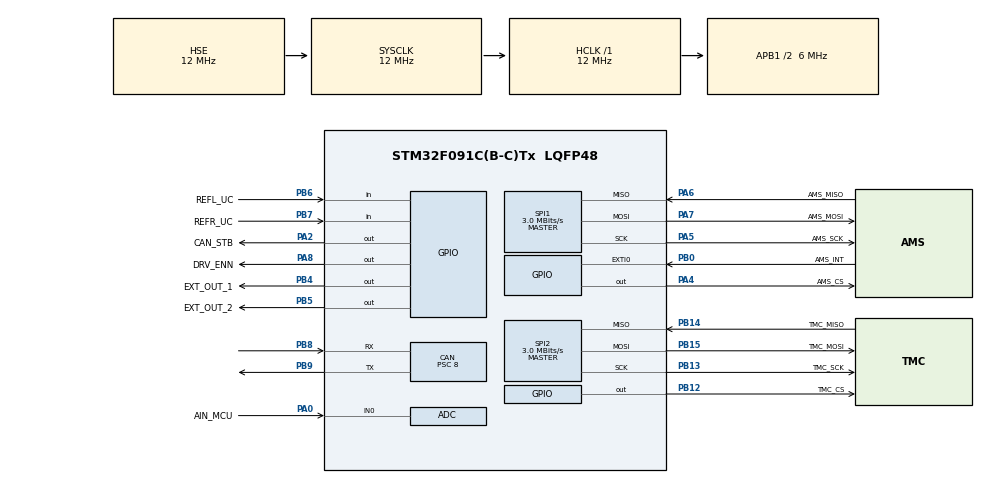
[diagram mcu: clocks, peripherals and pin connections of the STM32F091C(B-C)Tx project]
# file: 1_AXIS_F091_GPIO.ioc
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CAN.BS1=CAN_BS1_2TQ
CAN.CalculateBaudRate=187500
CAN.CalculateTimeBit=5333
CAN.CalculateTimeQuantum=1333.3333333333333
CAN.Mode=CAN_MODE_NORMAL
CAN.Prescaler=8
Mcu.Family=STM32F0
Mcu.Name=STM32F091C(B-C)Tx
Mcu.Package=LQFP48
NVIC.CEC_CAN_IRQn=true\:0\:0\:false\:false\:true\:true\:true\:true
NVIC.EXTI0_1_IRQn=true\:0\:0\:false\:false\:true\:true\:true\:true
PA0.GPIO_Label=AIN_MCU
PA0.Mode=IN0
PA0.Signal=ADC_IN0
PA13.GPIO_Label=SWDIO
PA13.Mode=Serial_Wire
PA13.Signal=SYS_SWDIO
PA14.GPIO_Label=SWCLK
PA14.Mode=Serial_Wire
PA14.Signal=SYS_SWCLK
PA2.GPIO_Label=CAN_STB
PA2.Signal=GPIO_Output
PA4.GPIO_Label=AMS_CS
PA4.Signal=GPIO_Output
PA5.GPIO_Label=AMS_SCK
PA5.Mode=Full_Duplex_Master
PA5.Signal=SPI1_SCK
PA6.GPIO_Label=AMS_MISO
PA6.Mode=Full_Duplex_Master
PA6.Signal=SPI1_MISO
PA7.GPIO_Label=AMS_MOSI
PA7.Mode=Full_Duplex_Master
PA7.Signal=SPI1_MOSI
PA8.GPIO_Label=DRV_ENN
PA8.Signal=GPIO_Output
PB0.GPIO_Label=AMS_INT
PB0.GPIO_ModeDefaultEXTI=GPIO_MODE_IT_RISING
PB0.Signal=GPXTI0
PB12.GPIO_Label=TMC_CS
PB12.PinState=GPIO_PIN_SET
PB12.Signal=GPIO_Output
PB13.GPIO_Label=TMC_SCK
PB13.Mode=Full_Duplex_Master
PB13.Signal=SPI2_SCK
PB14.GPIO_Label=TMC_MISO
PB14.Mode=Full_Duplex_Master
PB14.Signal=SPI2_MISO
PB15.GPIO_Label=TMC_MOSI
PB15.Mode=Full_Duplex_Master
PB15.Signal=SPI2_MOSI
PB4.GPIO_Label=EXT_OUT_1
PB4.GPIO_PuPd=GPIO_PULLDOWN
PB4.Signal=GPIO_Output
PB5.GPIO_Label=EXT_OUT_2
PB5.GPIO_PuPd=GPIO_PULLDOWN
PB5.Signal=GPIO_Output
PB6.GPIO_Label=REFL_UC
PB6.GPIO_PuPd=GPIO_PULLDOWN
PB6.Signal=GPIO_Input
PB7.GPIO_Label=REFR_UC
PB7.GPIO_PuPd=GPIO_PULLDOWN
PB7.Signal=GPIO_Input
PB8.Mode=CAN_Activate
PB8.Signal=CAN_RX
PB9.Mode=CAN_Activate
PB9.Signal=CAN_TX
PF0-OSC_IN.Mode=HSE-External-Oscillator
PF0-OSC_IN.Signal=RCC_OSC_IN
PF1-OSC_OUT.Mode=HSE-External-Oscillator
PF1-OSC_OUT.Signal=RCC_OSC_OUT
ProjectManager.HeapSize=0x200
ProjectManager.StackSize=0x400
ProjectManager.TargetToolchain=STM32CubeIDE
RCC.AHBFreq_Value=12000000
RCC.APB1CLKDivider=RCC_HCLK_DIV2
RCC.APB1Freq_Value=6000000
RCC.APB1TimFreq_Value=12000000
RCC.HCLKFreq_Value=12000000
RCC.HSE_VALUE=12000000
RCC.PLLSourceVirtual=RCC_PLLSOURCE_HSE
RCC.SYSCLKFreq_VALUE=12000000
RCC.SYSCLKSource=RCC_SYSCLKSOURCE_HSE
SPI1.CalculateBaudRate=3.0 MBits/s
SPI1.DataSize=SPI_DATASIZE_8BIT
SPI1.Direction=SPI_DIRECTION_2LINES
SPI1.Mode=SPI_MODE_MASTER
SPI1.VirtualType=VM_MASTER
SPI2.CalculateBaudRate=3.0 MBits/s
SPI2.DataSize=SPI_DATASIZE_8BIT
SPI2.Direction=SPI_DIRECTION_2LINES
SPI2.Mode=SPI_MODE_MASTER
SPI2.VirtualType=VM_MASTER
board=custom

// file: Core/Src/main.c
/* USER CODE BEGIN Header */
/**
  ******************************************************************************
  * @file           : main.c
  * @brief          : Main program body
  ******************************************************************************
  * @attention
  *
  * Copyright (c) 2022 STMicroelectronics.
  * All rights reserved.
  *
  * This software is licensed under terms that can be found in the LICENSE file
  * in the root directory of this software component.
  * If no LICENSE file comes with this software, it is provided AS-IS.
  *
  ******************************************************************************
  */
/* USER CODE END Header */
#include "main.h"

ADC_HandleTypeDef hadc;

CAN_HandleTypeDef hcan;

SPI_HandleTypeDef hspi1;
SPI_HandleTypeDef hspi2;

void SystemClock_Config(void);
static void MX_GPIO_Init(void);
static void MX_ADC_Init(void);
static void MX_CAN_Init(void);
static void MX_SPI1_Init(void);
static void MX_SPI2_Init(void);

/* USER CODE BEGIN 0 */

/* RAMP config */
RampConfig Ramp1;
RampConfig StallSettings1;
RampConfig StealthSettings1;
RampConfig StopRamp1;

/* Current config */
CurrentConfig CurrentSetting1;

/* User Settings */
int AMS_ENB = 1; // 0 = disable Hall sensor , 1 = enable Hall sensor
int ENC_ENB = 0; // 0 = disable Encoder , 1 = enable Encoder
int ENC_HOME = 0; // 0 = don't reset ENC counter at Z-event, 1 = reset at Z-event (for homing)
int STG_ENB = 0; // 0 = disable Stallguard, 1 = enable Stallguard
int32_t AMS_Resolution =  4096; // Hall sensor resolution
int32_t ENC_Resolution =  8000; // Encoder resolution

/* CAN VARIABLES */  //
CAN_TxHeaderTypeDef CANTxHeader;
CAN_RxHeaderTypeDef CANRxHeader;

uint8_t CANTxData[8];	//CANTX data array
uint8_t CANRxData[8];	//CANRX data array
uint32_t TxMailbox[3];	//CAN Mailbox
int Datacheck;			//temp value for checking incomming CAN Data

uint16_t ADCReadings[1000];
int s = 0;

int ReadingData = 0;
int count = 0;

/*  CAN RECEIVE INTERRUPT */
void HAL_CAN_RxFifo0MsgPendingCallback(CAN_HandleTypeDef *hcan)
{
	HAL_CAN_GetRxMessage(hcan, CAN_RX_FIFO0, &CANRxHeader, CANRxData);

	if (CANRxData[0] == 0x01)
	{
		Datacheck = 1;
	}
}

void HAL_GPIO_EXTI_Callback(uint16_t GPIO_Pin)
{
	if(GPIO_Pin == AMS_INT_Pin && AMS_Ready == 0)
	{
		AMS_Ready = 1;
	}
}

/* USER CODE END 0 */

int main(void)
{

  /* MCU Configuration--------------------------------------------------------*/

  /* Reset of all peripherals, Initializes the Flash interface and the Systick. */
  HAL_Init();

  /* Configure the system clock */
  SystemClock_Config();

  /* Initialize all configured peripherals */
  MX_GPIO_Init();
  MX_ADC_Init();
  MX_CAN_Init();
  MX_SPI1_Init();
  MX_SPI2_Init();
  /* USER CODE BEGIN 2 */

  HAL_Delay(25);	//startup delay, so motor does not spin on debug

  Ramp1.VSTART = 10;
  Ramp1.A1 = 1000;
  Ramp1.V1 = 10000;
  Ramp1.AMAX = 12800;
  Ramp1.VMAX = 51200;
  Ramp1.DMAX = 700;
  Ramp1.D1 = 1400;
  Ramp1.VSTOP = 10;

  CurrentSetting1.IHOLD = 3;
  CurrentSetting1.IRUN = 1;

  TMC5160_Basic_Init(&CurrentSetting1);
  TMC5160_Drive_Enable(1);

  //Read IN1 (5 to 24V)
  Read_IN(1);

  //Read IN2 (5 to 24V)
  Read_IN(2);

  //Enable OUT1 for 1 sec (24V)
  HAL_GPIO_WritePin(GPIOB,EXT_OUT_1_Pin,1);
  HAL_Delay(1000);
  HAL_GPIO_WritePin(GPIOB,EXT_OUT_1_Pin,0);

  //OR use,   Toggle_OUT(1,1000);

  // Enable OUT2 for 1 sec (24V)
  HAL_GPIO_WritePin(GPIOB,EXT_OUT_2_Pin,1);
  HAL_Delay(1000);
  HAL_GPIO_WritePin(GPIOB,EXT_OUT_2_Pin,0);

  //OR use,   Toggle_OUT(2,1000);

/* Analog read check, AIN max = 5V , circuit has voltage devider for 3V max.*/

  Read_AIN(); //returns Anlog value

	TMC5160_Stop();
	TMC5160_Drive_Enable(0);

  /* USER CODE END 2 */

  /* Infinite loop */
  while (1)
  {

  }
}

void SystemClock_Config(void)
{
  RCC_OscInitTypeDef RCC_OscInitStruct = {0};
  RCC_ClkInitTypeDef RCC_ClkInitStruct = {0};

  /** Initializes the RCC Oscillators according to the specified parameters
  * in the RCC_OscInitTypeDef structure.
  */
  RCC_OscInitStruct.OscillatorType = RCC_OSCILLATORTYPE_HSI14|RCC_OSCILLATORTYPE_HSE;
  RCC_OscInitStruct.HSEState = RCC_HSE_ON;
  RCC_OscInitStruct.HSI14State = RCC_HSI14_ON;
  RCC_OscInitStruct.HSI14CalibrationValue = 16;
  RCC_OscInitStruct.PLL.PLLState = RCC_PLL_NONE;
  if (HAL_RCC_OscConfig(&RCC_OscInitStruct) != HAL_OK)
  {
    Error_Handler();
  }

  /** Initializes the CPU, AHB and APB buses clocks
  */
  RCC_ClkInitStruct.ClockType = RCC_CLOCKTYPE_HCLK|RCC_CLOCKTYPE_SYSCLK
                              |RCC_CLOCKTYPE_PCLK1;
  RCC_ClkInitStruct.SYSCLKSource = RCC_SYSCLKSOURCE_HSE;
  RCC_ClkInitStruct.AHBCLKDivider = RCC_SYSCLK_DIV1;
  RCC_ClkInitStruct.APB1CLKDivider = RCC_HCLK_DIV2;

  if (HAL_RCC_ClockConfig(&RCC_ClkInitStruct, FLASH_LATENCY_0) != HAL_OK)
  {
    Error_Handler();
  }
}

static void MX_ADC_Init(void)
{

  ADC_ChannelConfTypeDef sConfig = {0};

  /** Configure the global features of the ADC (Clock, Resolution, Data Alignment and number of conversion)
  */
  hadc.Instance = ADC1;
  hadc.Init.ClockPrescaler = ADC_CLOCK_ASYNC_DIV1;
  hadc.Init.Resolution = ADC_RESOLUTION_12B;
  hadc.Init.DataAlign = ADC_DATAALIGN_RIGHT;
  hadc.Init.ScanConvMode = ADC_SCAN_DIRECTION_FORWARD;
  hadc.Init.EOCSelection = ADC_EOC_SINGLE_CONV;
  hadc.Init.LowPowerAutoWait = DISABLE;
  hadc.Init.LowPowerAutoPowerOff = DISABLE;
  hadc.Init.ContinuousConvMode = DISABLE;
  hadc.Init.DiscontinuousConvMode = DISABLE;
  hadc.Init.ExternalTrigConv = ADC_SOFTWARE_START;
  hadc.Init.ExternalTrigConvEdge = ADC_EXTERNALTRIGCONVEDGE_NONE;
  hadc.Init.DMAContinuousRequests = DISABLE;
  hadc.Init.Overrun = ADC_OVR_DATA_PRESERVED;
  if (HAL_ADC_Init(&hadc) != HAL_OK)
  {
    Error_Handler();
  }

  /** Configure for the selected ADC regular channel to be converted.
  */
  sConfig.Channel = ADC_CHANNEL_0;
  sConfig.Rank = ADC_RANK_CHANNEL_NUMBER;
  sConfig.SamplingTime = ADC_SAMPLETIME_1CYCLE_5;
  if (HAL_ADC_ConfigChannel(&hadc, &sConfig) != HAL_OK)
  {
    Error_Handler();
  }

}

static void MX_CAN_Init(void)
{

  /* USER CODE BEGIN CAN_Init 0 */
	//HAL_GPIO_WritePin(GPIOA,CAN_STB_Pin,0); // Set STB pin LOW for normal operation
  /* USER CODE END CAN_Init 0 */

  hcan.Instance = CAN;
  hcan.Init.Prescaler = 8;
  hcan.Init.Mode = CAN_MODE_NORMAL;
  hcan.Init.SyncJumpWidth = CAN_SJW_1TQ;
  hcan.Init.TimeSeg1 = CAN_BS1_2TQ;
  hcan.Init.TimeSeg2 = CAN_BS2_1TQ;
  hcan.Init.TimeTriggeredMode = DISABLE;
  hcan.Init.AutoBusOff = DISABLE;
  hcan.Init.AutoWakeUp = DISABLE;
  hcan.Init.AutoRetransmission = DISABLE;
  hcan.Init.ReceiveFifoLocked = DISABLE;
  hcan.Init.TransmitFifoPriority = DISABLE;
  if (HAL_CAN_Init(&hcan) != HAL_OK)
  {
    Error_Handler();
  }
  /* USER CODE BEGIN CAN_Init 2 */

  /* CAN filter */

  CAN_FilterTypeDef  sFilterConfig;

  sFilterConfig.FilterActivation = ENABLE;
  sFilterConfig.FilterBank = 10;
  sFilterConfig.FilterFIFOAssignment = CAN_RX_FIFO0;
  sFilterConfig.FilterIdHigh = 0x0000;
  sFilterConfig.FilterIdLow = 0x0000;
  sFilterConfig.FilterMaskIdHigh = 0x0000;
  sFilterConfig.FilterMaskIdLow = 0x0000;
  sFilterConfig.FilterMode = CAN_FILTERMODE_IDMASK;
  sFilterConfig.FilterScale = CAN_FILTERSCALE_32BIT;
  sFilterConfig.SlaveStartFilterBank = 0;

  HAL_CAN_ConfigFilter(&hcan, &sFilterConfig);

  HAL_CAN_Start(&hcan);
  HAL_CAN_ActivateNotification(&hcan, CAN_IT_RX_FIFO0_MSG_PENDING);

  /* USER CODE END CAN_Init 2 */

}

static void MX_SPI1_Init(void)
{

  /* SPI1 parameter configuration*/
  hspi1.Instance = SPI1;
  hspi1.Init.Mode = SPI_MODE_MASTER;
  hspi1.Init.Direction = SPI_DIRECTION_2LINES;
  hspi1.Init.DataSize = SPI_DATASIZE_8BIT;
  hspi1.Init.CLKPolarity = SPI_POLARITY_LOW;
  hspi1.Init.CLKPhase = SPI_PHASE_1EDGE;
  hspi1.Init.NSS = SPI_NSS_SOFT;
  hspi1.Init.BaudRatePrescaler = SPI_BAUDRATEPRESCALER_2;
  hspi1.Init.FirstBit = SPI_FIRSTBIT_MSB;
  hspi1.Init.TIMode = SPI_TIMODE_DISABLE;
  hspi1.Init.CRCCalculation = SPI_CRCCALCULATION_DISABLE;
  hspi1.Init.CRCPolynomial = 7;
  hspi1.Init.CRCLength = SPI_CRC_LENGTH_DATASIZE;
  hspi1.Init.NSSPMode = SPI_NSS_PULSE_ENABLE;
  if (HAL_SPI_Init(&hspi1) != HAL_OK)
  {
    Error_Handler();
  }

}

static void MX_SPI2_Init(void)
{

  /* SPI2 parameter configuration*/
  hspi2.Instance = SPI2;
  hspi2.Init.Mode = SPI_MODE_MASTER;
  hspi2.Init.Direction = SPI_DIRECTION_2LINES;
  hspi2.Init.DataSize = SPI_DATASIZE_8BIT;
  hspi2.Init.CLKPolarity = SPI_POLARITY_LOW;
  hspi2.Init.CLKPhase = SPI_PHASE_1EDGE;
  hspi2.Init.NSS = SPI_NSS_SOFT;
  hspi2.Init.BaudRatePrescaler = SPI_BAUDRATEPRESCALER_2;
  hspi2.Init.FirstBit = SPI_FIRSTBIT_MSB;
  hspi2.Init.TIMode = SPI_TIMODE_DISABLE;
  hspi2.Init.CRCCalculation = SPI_CRCCALCULATION_DISABLE;
  hspi2.Init.CRCPolynomial = 7;
  hspi2.Init.CRCLength = SPI_CRC_LENGTH_DATASIZE;
  hspi2.Init.NSSPMode = SPI_NSS_PULSE_ENABLE;
  if (HAL_SPI_Init(&hspi2) != HAL_OK)
  {
    Error_Handler();
  }

}

static void MX_GPIO_Init(void)
{
  GPIO_InitTypeDef GPIO_InitStruct = {0};

  /* GPIO Ports Clock Enable */
  __HAL_RCC_GPIOF_CLK_ENABLE();
  __HAL_RCC_GPIOA_CLK_ENABLE();
  __HAL_RCC_GPIOB_CLK_ENABLE();

  /*Configure GPIO pin Output Level */
  HAL_GPIO_WritePin(GPIOA, CAN_STB_Pin|AMS_CS_Pin|DRV_ENN_Pin, GPIO_PIN_RESET);

  /*Configure GPIO pin Output Level */
  HAL_GPIO_WritePin(TMC_CS_GPIO_Port, TMC_CS_Pin, GPIO_PIN_SET);

  /*Configure GPIO pin Output Level */
  HAL_GPIO_WritePin(GPIOB, EXT_OUT_1_Pin|EXT_OUT_2_Pin, GPIO_PIN_RESET);

  /*Configure GPIO pins : CAN_STB_Pin AMS_CS_Pin DRV_ENN_Pin */
  GPIO_InitStruct.Pin = CAN_STB_Pin|AMS_CS_Pin|DRV_ENN_Pin;
  GPIO_InitStruct.Mode = GPIO_MODE_OUTPUT_PP;
  GPIO_InitStruct.Pull = GPIO_NOPULL;
  GPIO_InitStruct.Speed = GPIO_SPEED_FREQ_LOW;
  HAL_GPIO_Init(GPIOA, &GPIO_InitStruct);

  /*Configure GPIO pin : AMS_INT_Pin */
  GPIO_InitStruct.Pin = AMS_INT_Pin;
  GPIO_InitStruct.Mode = GPIO_MODE_IT_RISING;
  GPIO_InitStruct.Pull = GPIO_NOPULL;
  HAL_GPIO_Init(AMS_INT_GPIO_Port, &GPIO_InitStruct);

  /*Configure GPIO pin : TMC_CS_Pin */
  GPIO_InitStruct.Pin = TMC_CS_Pin;
  GPIO_InitStruct.Mode = GPIO_MODE_OUTPUT_PP;
  GPIO_InitStruct.Pull = GPIO_NOPULL;
  GPIO_InitStruct.Speed = GPIO_SPEED_FREQ_LOW;
  HAL_GPIO_Init(TMC_CS_GPIO_Port, &GPIO_InitStruct);

  /*Configure GPIO pins : EXT_OUT_1_Pin EXT_OUT_2_Pin */
  GPIO_InitStruct.Pin = EXT_OUT_1_Pin|EXT_OUT_2_Pin;
  GPIO_InitStruct.Mode = GPIO_MODE_OUTPUT_PP;
  GPIO_InitStruct.Pull = GPIO_PULLDOWN;
  GPIO_InitStruct.Speed = GPIO_SPEED_FREQ_LOW;
  HAL_GPIO_Init(GPIOB, &GPIO_InitStruct);

  /*Configure GPIO pins : REFL_UC_Pin REFR_UC_Pin */
  GPIO_InitStruct.Pin = REFL_UC_Pin|REFR_UC_Pin;
  GPIO_InitStruct.Mode = GPIO_MODE_INPUT;
  GPIO_InitStruct.Pull = GPIO_PULLDOWN;
  HAL_GPIO_Init(GPIOB, &GPIO_InitStruct);

  /* EXTI interrupt init*/
  HAL_NVIC_SetPriority(EXTI0_1_IRQn, 0, 0);
  HAL_NVIC_EnableIRQ(EXTI0_1_IRQn);

/* USER CODE BEGIN MX_GPIO_Init_2 */
  HAL_GPIO_WritePin(GPIOB, TMC_CS_Pin, 1); // make CS high
/* USER CODE END MX_GPIO_Init_2 */
}

void Error_Handler(void)
{
  __disable_irq();
  while (1)
  {
  }
}
